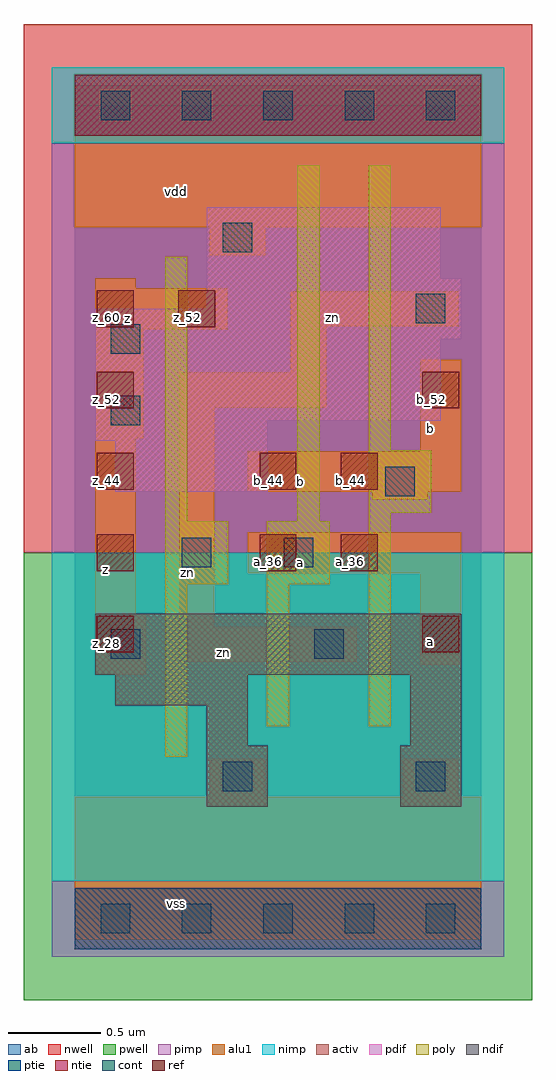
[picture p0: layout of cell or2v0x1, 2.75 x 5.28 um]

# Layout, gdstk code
import gdstk
lib = gdstk.Library(unit=1e-6, precision=2.5e-09)
def R(c, l, rs):  # rectangles x0, y0, x1, y1
    for r in rs: c.add(gdstk.rectangle(r[:2], r[2:], *l))
def A(c, l, x, y, w, h, nx, ny, dx, dy):  # array of equal rectangles
    R(c, l, [(x+i*dx, y+j*dy, x+i*dx+w, y+j*dy+h) for i in range(nx) for j in range(ny)])
ndif = (3, 0)
pdif = (4, 0)
ntie = (5, 0)
ptie = (6, 0)
ref = (24, 0)
cont = (25, 0)
pwell = (41, 0)
nwell = (42, 0)
activ = (43, 0)
pimp = (44, 0)
nimp = (45, 0)
poly = (46, 0)
alu1 = (49, 0)
ab = (63, 0)

or2v0x1 = lib.new_cell('or2v0x1')
R(or2v0x1, ndif, [(0.715,0.605,1.045,0.935), (1.76,0.605,2.09,0.935), (0.715,0.935,0.935,1.155), (1.815,0.935,2.09,1.32), (0.22,1.155,0.935,1.32), (0.11,1.32,2.09,1.65)])
R(or2v0x1, pdif, [(0.22,2.31,1.045,2.585), (0.11,2.585,1.045,2.695), (0.11,2.695,1.98,3.135), (0.11,3.135,2.09,3.3), (0.715,3.3,2.09,3.465), (0.715,3.465,1.98,3.85)])
R(or2v0x1, ntie, [(0,4.235,2.2,4.565)])
R(or2v0x1, ptie, [(0,-0.165,2.2,0.165)])
A(or2v0x1, ref, 0.12, 1.44, 0.2, 0.2, 1, 5, 0, 0.44)
R(or2v0x1, ref, [(1.88,1.44,2.08,1.64), (1,1.88,1.2,2.08), (1.44,1.88,1.64,2.08), (1,2.32,1.2,2.52), (1.44,2.32,1.64,2.52), (1.88,2.76,2.08,2.96), (0.56,3.2,0.76,3.4)])
A(or2v0x1, cont, 0.14, -0.08, 0.16, 0.16, 5, 2, 0.44, 4.4)
R(or2v0x1, cont, [(0.8,0.69,0.96,0.85), (1.845,0.69,2.005,0.85), (0.195,1.405,0.355,1.565), (1.295,1.405,1.455,1.565), (0.58,1.9,0.74,2.06), (1.13,1.9,1.29,2.06), (1.68,2.285,1.84,2.445), (0.195,2.67,0.355,2.83), (0.195,3.055,0.355,3.215), (1.845,3.22,2.005,3.38), (0.8,3.605,0.96,3.765)])
R(or2v0x1, pwell, [(-0.275,-0.44,2.475,1.98)])
R(or2v0x1, nwell, [(-0.275,1.98,2.475,4.84)])
R(or2v0x1, activ, [(0,-0.165,2.2,0.165), (0.715,0.605,1.045,0.935), (1.76,0.605,2.09,0.935), (0.715,0.935,0.935,1.155), (1.815,0.935,2.09,1.32), (0.22,1.155,0.935,1.32), (0.11,1.32,2.09,1.65), (0.22,2.31,1.045,2.585), (0.11,2.585,1.045,2.695), (0.11,2.695,1.98,3.135), (0.11,3.135,2.09,3.3), (0.715,3.3,2.09,3.465), (0.715,3.465,1.98,3.85), (0,4.235,2.2,4.565)])
R(or2v0x1, pimp, [(-0.125,-0.205,2.325,0.205), (-0.125,1.98,2.325,4.195)])
R(or2v0x1, nimp, [(-0.125,0.205,2.325,1.98), (-0.125,4.195,2.325,4.605)])
R(or2v0x1, poly, [(0.49,0.875,0.61,1.81), (1.04,1.04,1.16,1.81), (1.59,1.04,1.71,2.195), (0.49,1.81,0.83,2.15), (1.04,1.81,1.38,2.15), (0.49,2.15,0.61,3.58), (1.205,2.15,1.325,4.075), (1.59,2.195,1.93,2.535), (1.59,2.535,1.71,4.075)])
R(or2v0x1, alu1, [(0,-0.11,2.2,0.66), (0.73,0.66,1.03,0.865), (1.775,0.66,2.075,0.865), (0.11,1.32,0.385,1.65), (1.87,1.375,2.09,1.87), (0.565,1.39,1.525,1.58), (0.565,1.58,0.755,2.765), (0.11,1.65,0.33,2.6), (0.935,1.87,2.09,2.09), (1.61,2.27,1.91,2.31), (0.935,2.31,2.09,2.53), (1.87,2.53,2.09,3.025), (0.11,2.6,0.37,3.19), (0.565,2.765,1.36,2.955), (1.17,2.955,1.36,3.205), (0.11,3.19,0.825,3.41), (1.17,3.205,2.075,3.395), (0.11,3.41,0.33,3.465), (0.73,3.59,1.03,3.74), (0,3.74,2.2,4.51)])
R(or2v0x1, ab, [(0,0,2.2,4.4)])
or2v0x1.add(gdstk.Label('vss', (0.55,0.0825), layer=49, texttype=0))
or2v0x1.add(gdstk.Label('a', (1.925,1.4975), layer=49, texttype=0))
or2v0x1.add(gdstk.Label('zn', (0.805,1.4375), layer=49, texttype=0))
or2v0x1.add(gdstk.Label('a', (1.2225,1.925), layer=49, texttype=0))
or2v0x1.add(gdstk.Label('b', (1.2225,2.365), layer=49, texttype=0))
or2v0x1.add(gdstk.Label('b', (1.925,2.6525), layer=49, texttype=0))
or2v0x1.add(gdstk.Label('zn', (0.6125,1.875), layer=49, texttype=0))
or2v0x1.add(gdstk.Label('z', (0.165,1.8875), layer=49, texttype=0))
or2v0x1.add(gdstk.Label('zn', (1.395,3.2525), layer=49, texttype=0))
or2v0x1.add(gdstk.Label('z', (0.2875,3.245), layer=49, texttype=0))
or2v0x1.add(gdstk.Label('vdd', (0.55,3.9325), layer=49, texttype=0))
or2v0x1.add(gdstk.Label('z_52', (0.61,3.25), layer=24, texttype=0))
or2v0x1.add(gdstk.Label('a_36', (1.05,1.93), layer=24, texttype=0))
or2v0x1.add(gdstk.Label('b_44', (1.05,2.37), layer=24, texttype=0))
or2v0x1.add(gdstk.Label('a_36', (1.49,1.93), layer=24, texttype=0))
or2v0x1.add(gdstk.Label('b_44', (1.49,2.37), layer=24, texttype=0))
or2v0x1.add(gdstk.Label('a_28', (1.93,1.49), layer=24, texttype=0))
or2v0x1.add(gdstk.Label('b_52', (1.93,2.81), layer=24, texttype=0))
or2v0x1.add(gdstk.Label('z_28', (0.17,1.49), layer=24, texttype=0))
or2v0x1.add(gdstk.Label('z_36', (0.17,1.93), layer=24, texttype=0))
or2v0x1.add(gdstk.Label('z_44', (0.17,2.37), layer=24, texttype=0))
or2v0x1.add(gdstk.Label('z_52', (0.17,2.81), layer=24, texttype=0))
or2v0x1.add(gdstk.Label('z_60', (0.17,3.25), layer=24, texttype=0))

lib.write_gds('or2v0x1.gds')
